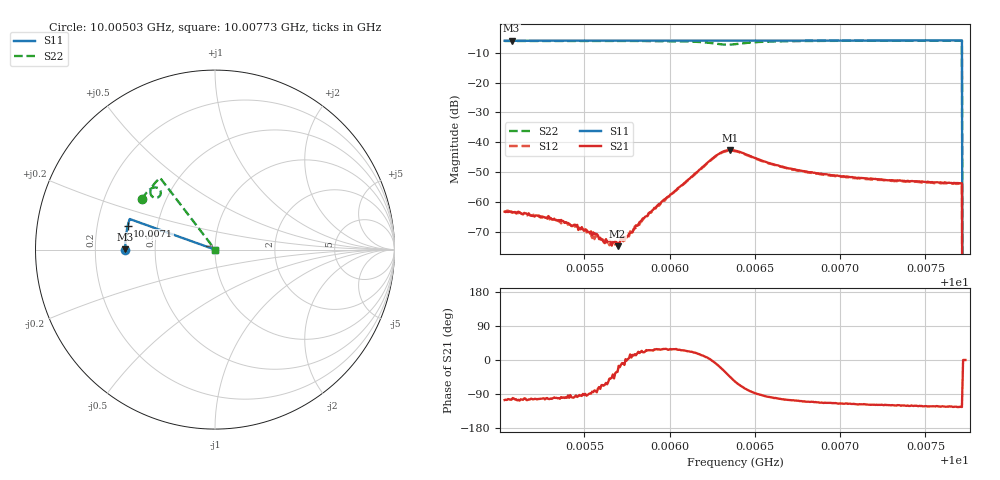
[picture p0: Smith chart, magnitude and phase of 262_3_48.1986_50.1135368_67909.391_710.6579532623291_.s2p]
#  HZ  S  RI  R  50.00
! Rohde & Schwarz Vector Network Analyzer
! Rohde-Schwarz,ZNB20-2Port,1311601062101988,3.16
! Created: UTC 3/20/2024, 11:47:49 AM
! freq[Hz]  re:S11  im:S11  re:S21  im:S21  re:S12  im:S12  re:S22  im:S22
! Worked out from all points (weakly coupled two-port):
!   401 points, 10.00503 GHz to 10.00773 GHz, reference 50 ohm
!   highest |S21| = -42.60 dB at 10.00636 GHz (marker M1); lowest = -74.7 dB at 10.00569 GHz (marker M2)
!   lowest |S11| = -6.0 dB at 10.00507 GHz (marker M3), VSWR 3.00, Z = 16.7 + j0.109 ohm
!   |S11| at or under -10 dB: 10.00771 GHz to end of sweep
!   |S22| runs from - to -6.0 dB; largest |S21 - S12| = 0.00042
!   S11 on the Smith chart (normalised r, x): 10.00503 GHz: 0.33, -0.00; 10.0071 GHz: 0.34, +0.12; 10.00773 GHz: 1.00, +0.00
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1.0005032e10  -0.4998 -0.000188  -0.000186 -0.000666  -0.000116 -0.000683  -0.4081 0.2797
1.0005073e10  -0.4996 0.00246  -0.000176 -0.000675  -0.000132 -0.000659  -0.4066 0.2822
1.0005215e10  -0.5 0.0116  -0.000131 -0.000586  -0.000127 -0.000589  -0.4012 0.2906
1.0005363e10  -0.4999 0.0214  -6.94e-05 -0.000499  -6.35e-05 -0.000437  -0.395 0.2994
1.0005485e10  -0.4998 0.0293  -3.25e-05 -0.000381  -2.4e-05 -0.00036  -0.3896 0.3068
1.0005566e10  -0.4997 0.0345  4.32e-05 -0.000293  4.98e-05 -0.000273  -0.386 0.3116
1.000562e10  -0.4995 0.038  8.66e-05 -0.000187  0.000106 -0.000201  -0.3832 0.3151
1.0005695e10  -0.4992 0.0427  0.000156 -9.62e-05  0.000181 -0.000104  -0.3792 0.3198
1.0005728e10  -0.4991 0.0452  0.000239 -3.78e-05  0.000224 -4.51e-05  -0.3774 0.3218
1.0005769e10  -0.4988 0.0477  0.000292 7.7e-05  0.000319 6.86e-05  -0.3749 0.3244
1.0005836e10  -0.4986 0.0521  0.000456 0.000205  0.000438 0.00019  -0.3704 0.3289
1.0005938e10  -0.498 0.0586  0.000819 0.000446  0.000743 0.000445  -0.3625 0.3356
1.0006262e10  -0.4953 0.0795  0.00564 -0.000627  0.00556 -0.000301  -0.3056 0.3307
1.0006316e10  -0.4945 0.0826  0.00627 -0.00321  0.00626 -0.00288  -0.3036 0.3067
1.0006357e10  -0.4944 0.0849  0.0052 -0.00528  0.00533 -0.00493  -0.3164 0.2915
1.0006384e10  -0.4943 0.0866  0.00398 -0.0061  0.00422 -0.00575  -0.3285 0.2882
1.0006607e10  -0.4925 0.1008  -0.000706 -0.00426  -0.000515 -0.0042  -0.3597 0.3268
1.0006836e10  -0.49 0.1155  -0.00109 -0.00295  -0.000937 -0.0029  -0.3501 0.351
1.00071e10  -0.4862 0.1322  -0.00115 -0.00225  -0.00101 -0.00228  -0.3366 0.3685
1.0007289e10  -0.4832 0.1438  -0.00113 -0.00204  -0.00103 -0.00203  -0.3271 0.379
1.0007701e10  -0.4758 0.1693  -0.00115 -0.00172  -0.00102 -0.00177  -0.3061 0.3989
1.0007735e10  0 0  0 0  0 0  0 0
